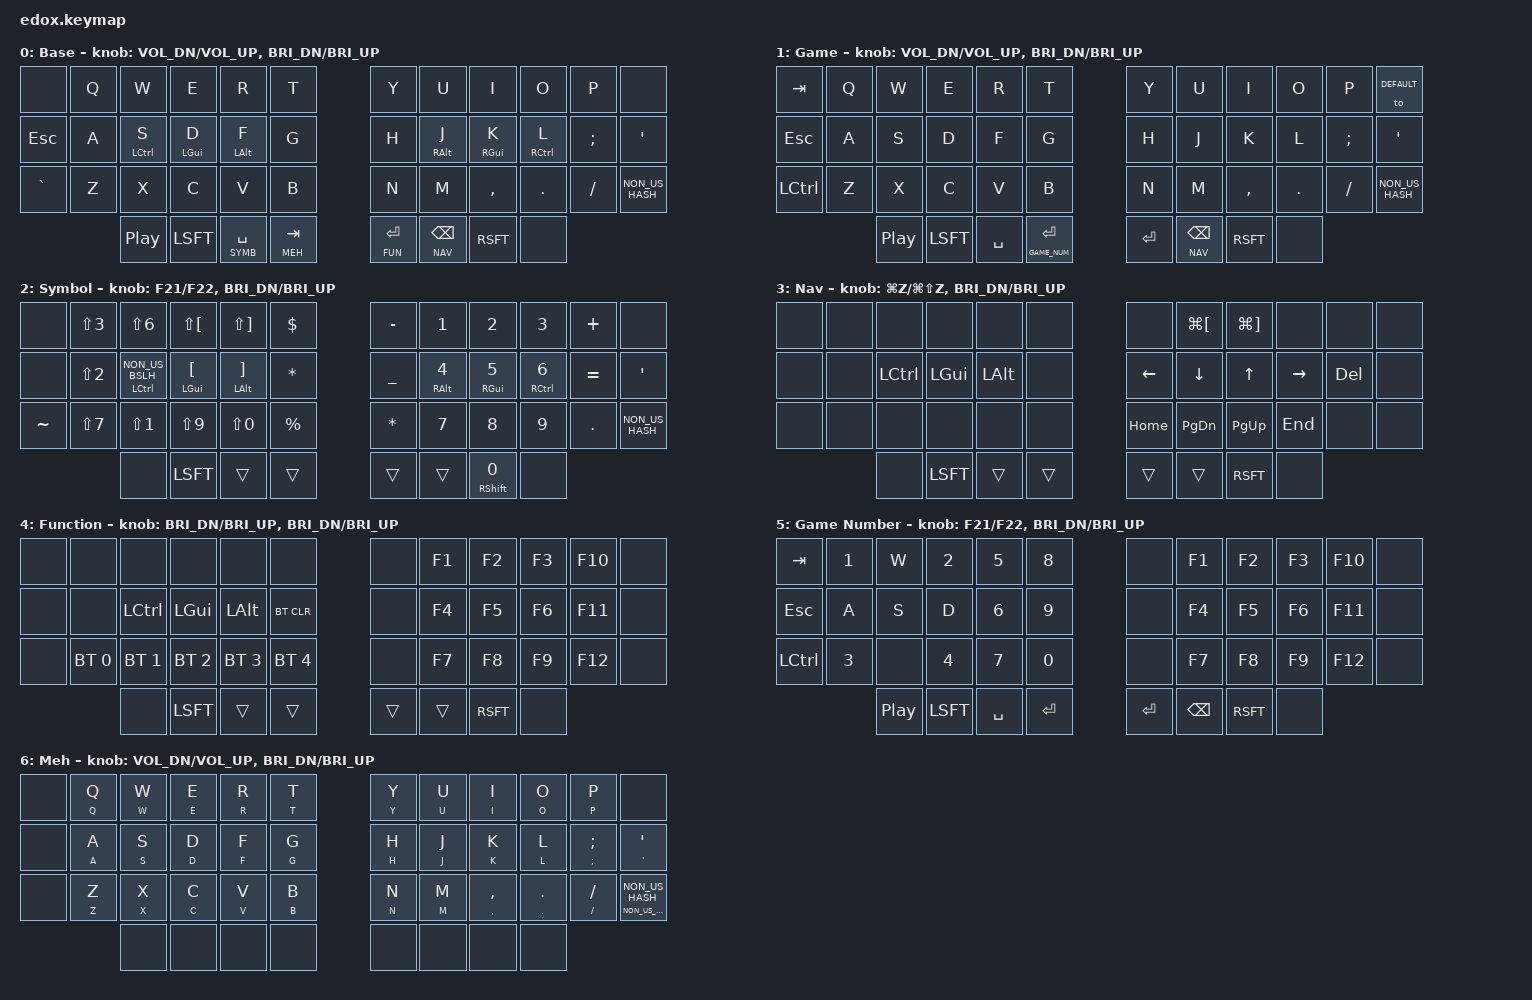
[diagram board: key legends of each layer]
#include <behaviors.dtsi>
#include <dt-bindings/zmk/keys.h>
#include <dt-bindings/zmk/bt.h>
#include <dt-bindings/zmk/ext_power.h>

#define DEFAULT   0
#define GAME      1
#define SYMB      2
#define NAV       3
#define FUN       4
#define GAME_NUM  5
#define MEH       6

&lt {
        tapping-term-ms = <150>;
        quick_tap_ms = <0>;
        flavor = "balanced";
};


/ {

        behaviors {
                hm: homerow_mods {
                        compatible = "zmk,behavior-hold-tap";
                        label = "HOMEROW_MODS";
                        #binding-cells = <2>;
                        tapping-term-ms = <150>;
                        quick_tap_ms = <0>;
                        flavor = "tap-preferred";
                        bindings = <&kp>, <&kp>;
                };
                td: tapdance {
                        compatible = "zmk,behavior-hold-tap";
                        label = "TAPDANCE";
                        #binding-cells = <2>;
                        tapping-term-ms = <190>;
                        quick_tap_ms = <0>;
                        flavor = "tap-preferred";
                        bindings = <&kp>, <&kp>;
                };
                mh: meh_hyper {
                        compatible = "zmk,behavior-hold-tap";
                        label = "MEH_HYPER";
                        #binding-cells = <2>;
                        tapping-term-ms = <200>;
                        quick_tap_ms = <0>;
                        flavor = "tap-preferred";
                        bindings = <&macro_hyper>, <&macro_meh>;
                };
        };

        macros {
                macro_meh: macro_meh {
                        compatible = "zmk,behavior-macro-one-param";
                        #binding-cells = <1>;
                        bindings
                                = <&macro_press &kp LCTRL &kp LSHIFT &kp LALT>
                                , <&macro_param_1to1>
                                , <&macro_tap &kp MACRO_PLACEHOLDER>
                                , <&macro_release &kp LCTRL &kp LSHIFT &kp LALT>
                                ;
                };
                macro_hyper: macro_hyper {
                        compatible = "zmk,behavior-macro-one-param";
                        #binding-cells = <1>;
                        bindings
                                = <&macro_press &kp LCTRL &kp LSHIFT &kp LALT &kp LGUI>
                                , <&macro_param_1to1>
                                , <&macro_tap &kp MACRO_PLACEHOLDER>
                                , <&macro_release &kp LCTRL &kp LSHIFT &kp LALT &kp LGUI>
                                ;
                };
        };

        combos
        {
                compatible = "zmk,combos";
                combo_ent
                {
                        timeout-ms = <40>;
                        key-positions = <27 28>;
                        bindings = <&kp ENTER>;
                        layers = <0>;
                };
                combo_bksp
                {
                        timeout-ms = <40>;
                        key-positions = <25 26>;
                        bindings = <&kp BKSP>;
                        layers = <0>;
                };
                combo_meh
                {
                        timeout-ms = <40>;
                        key-positions = <38 39>;
                        bindings = <&kp LS(LC(LG(LALT)))>;
                        layers = <0>;
                };
                combo_game
                {
                        timeout-ms = <40>;
                        key-positions = <10 11>;
                        bindings = <&to GAME>;
                        layers = <0>;
                };
                combo_default
                {
                        timeout-ms = <40>;
                        key-positions = <0 1>;
                        bindings = <&to DEFAULT>;
                };
        };

        keymap {
                compatible = "zmk,keymap";

                default_layer {
                        label = "Base";
//   --------------------------------------------------------------------------------------------------------
// 0  | NONE |  Q  |  W  |  E  |  R  |  T  | 5                              6  |  Y  |  U   |  I  |  O  |  P  | NONE | 11
// 12 | ESC  |  A  |C S  |G D  |A F  |  G  | 17                             18 |  H  |A J   |G K  |C L  |  ;  |  '   | 23
// 24 |  \   |  Z  |  X  |  C  |  V  |  B  | 29                             30 |  N  |  M   |  ,  |  .  |  /  |  #   | 35
//                          36 | PLAY| SHFT| S SPC | M TAB |   | F ENT | N BKSP| SHFT| NONE | 43
                        bindings = <
   &none     &kp Q &kp W   &kp E      &kp R      &kp T                                                                                      &kp Y    &kp U       &kp I          &kp O         &kp P    &none
   &kp ESC   &kp A  &hm LCTRL S   &hm LGUI D &hm LALT F &kp G                                                                               &kp H    &hm RALT J  &hm RGUI K     &hm RCTRL L   &kp SEMI &kp SQT
   &kp GRAVE &kp Z  &kp X         &kp C      &kp V      &kp B                                                                               &kp N    &kp M       &kp COMMA      &kp DOT       &kp FSLH &kp NON_US_HASH
                                             &kp C_PP   &kp LSFT   &lt SYMB SPACE &lt MEH TAB       &lt FUN ENTER &lt NAV BKSP &kp RSFT &none
                        >;

                        sensor-bindings = <&inc_dec_kp C_VOL_DN C_VOL_UP &inc_dec_kp C_BRI_DN C_BRI_UP>;
                };

                game_layer {
                        label = "Game";
// --------------------------------------------------------------------------------------------------------
// | TAB  |  Q  |  W  |  E  |  R  |  T  |                             |  Y  |  U   |  I  |  O  |  P  | DEFAULT |
// | ESC  |  A  |  S  |  D  |  F  |  G  |                             |  H  |  J   |  K  |  L  |  ;  |  '   |
// | LCTL |  Z  |  X  |  C  |  V  |  B  |                             |  N  |  M   |  ,  |  .  |  /  |  #   |
//                          | PLAY| SHFT| SPC |GN ENT|   | ENT |N BKSP| SHFT| NONE |
                        bindings = <
   &kp TAB   &kp Q &kp W &kp E &kp R    &kp T                                                           &kp Y    &kp U  &kp I     &kp O   &kp P    &to DEFAULT
   &kp ESC   &kp A &kp S &kp D &kp F    &kp G                                                           &kp H    &kp J  &kp K     &kp L   &kp SEMI &kp SQT
   &kp LCTRL &kp Z &kp X &kp C &kp V    &kp B                                                           &kp N    &kp M  &kp COMMA &kp DOT &kp FSLH &kp NON_US_HASH
                               &kp C_PP &kp LSFT &kp SPACE &lt GAME_NUM ENTER    &kp ENTER &lt NAV BKSP &kp RSFT &none
                        >;

                        sensor-bindings = <&inc_dec_kp C_VOL_DN C_VOL_UP &inc_dec_kp C_BRI_DN C_BRI_UP>;

                };

                symb_layer {
                        label = "Symbol";
// -----------------------------------------------------------------------------------------
// | NONE |  £  |  ^  |  {  |  }  |  $  |                           |  -  |  1  |  2  |  3  |  +  | NONE|
// | NONE |  "  |C `  |G [  |A ]  |  *  |                           |  _  |A 4  |G 5  |C 6  |  =  | NONE|
// | PIPE |  &  |  !  |  (  |  )  |  %  |                           |  *  |  7  |  8  |  9  |  .  | NONE|
//                          |NONE |SHFT |NONE |NONE |   |NONE |NONE |S 0  |NONE |
                        bindings = <
   &none      &kp LS(N3)      &kp LS(N6)            &kp LS(LBKT)  &kp LS(RBKT)  &kp DLLR                                    &kp MINUS    &kp N1      &kp N2      &kp N3       &kp PLUS  &none
   &none      &kp LS(N2)      &hm LCTRL NON_US_BSLH &hm LGUI LBKT &hm LALT RBKT &kp STAR                                    &kp UNDER    &hm RALT N4 &hm RGUI N5 &hm RCTRL N6 &kp EQUAL &kp SQT
   &kp TILDE  &kp LS(N7)      &kp LS(N1)            &kp LS(N9)    &kp LS(N0)    &kp PRCNT                                   &kp STAR     &kp N7      &kp N8      &kp N9       &kp DOT   &kp NON_US_HASH
                                                                  &none         &kp LSFT &trans &trans        &trans &trans &mt RSHFT N0 &none
                        >;

                        sensor-bindings = <&inc_dec_kp F21 F22 &inc_dec_kp C_BRI_DN C_BRI_UP>;
                };

                nav_layer {
                        label = "Nav";
// --------------------------------------------------------------------------------------------------------
// | NONE | NONE | NONE | NONE | NONE | NONE |                               | NONE | BACK | FRWD | NONE | NONE | NONE |
// | NONE | NONE | LCTRL| LGUI | LALT | NONE |                               | LEFT | DOWN |  UP  | RGHT | DEL  | NONE |
// | NONE | NONE | NONE | NONE | NONE | NONE |                               | HOME | PGDN | PGUP | END  | NONE | NONE |
//                             | NONE | LSFT | NONE  |NONE |   | NONE | NONE | RSFT | NONE |
                        bindings = <
   &none  &none  &none     &none    &none    &none                                        &none       &kp LG(LBKT) &kp LG(RBKT) &none     &none   &none
   &none  &none  &kp LCTRL &kp LGUI &kp LALT &none                                        &kp LEFT    &kp DOWN     &kp UP       &kp RIGHT &kp DEL &none
   &none  &none  &none     &none    &none    &none                                        &kp HOME    &kp PG_DN    &kp PG_UP    &kp END   &none   &none
                                    &none    &kp LSFT &trans  &trans       &trans  &trans &kp RSFT    &none
                        >;

                        sensor-bindings = <&inc_dec_kp LG(Z) LG(LS(Z)) &inc_dec_kp C_BRI_DN C_BRI_UP>;
                };
                fun_layer {
                        label = "Function";
// --------------------------------------------------------------------------------------------------------
// | NONE | NONE | NONE | NONE | NONE | NONE |                               | NONE |  F1  |  F2  |  F3  |  F10  | NONE |
// | NONE | NONE | LCTRL| LGUI | LALT | BCLR |                               | NONE |  F4  |  F5  |  F6  |  F11  | NONE |
// | NONE |  B1  |  B2  |  B3  |  B4  |  B5  |                               | NONE |  F7  |  F8  |  F9  |  F12  | NONE |
//                             | NONE | LSFT | NONE | NONE |   | NONE | NONE | RSFT | NONE |
                        bindings = <
   &none  &none         &none         &none         &none         &none                                               &none     &kp F1  &kp F2  &kp F3  &kp F10  &none
   &none  &none         &kp LCTRL     &kp LGUI      &kp LALT      &bt BT_CLR                                          &none     &kp F4  &kp F5  &kp F6  &kp F11  &none
   &none  &bt BT_SEL 0  &bt BT_SEL 1  &bt BT_SEL 2  &bt BT_SEL 3  &bt BT_SEL 4                                        &none     &kp F7  &kp F8  &kp F9  &kp F12  &none
                                                    &none         &kp LSFT       &trans  &trans       &trans  &trans  &kp RSFT  &none
                        >;

                        sensor-bindings = <&inc_dec_kp C_BRI_DN C_BRI_UP &inc_dec_kp C_BRI_DN C_BRI_UP>;
                };


                game_num_layer {
                        label = "Game Number";
// --------------------------------------------------------------------------------------------------------
// | TAB  |  1   |  W   |  2   |  5   |  8   |                                | NONE |  F1  |  F2  |  F3  |  F10  | NONE |
// | ESC  |  A   |  S   |  D   |  6   |  9   |                                | NONE |  F4  |  F5  |  F6  |  F11  | NONE |
// | LCTRL|  3   | NONE |  4   |  7   |  0   |                                | NONE |  F7  |  F8  |  F9  |  F12  | NONE |
//                             | PLAY | SHFT| SPC | ENT |         | ENT | BKSP| SHFT | NONE |
                        bindings = <
   &kp TAB   &kp N1  &kp W  &kp N2  &kp N5    &kp N8                                             &none    &kp F1  &kp F2  &kp F3  &kp F10  &none
   &kp ESC   &kp A   &kp S  &kp D   &kp N6    &kp N9                                             &none    &kp F4  &kp F5  &kp F6  &kp F11  &none
   &kp LCTRL &kp N3  &none  &kp N4  &kp N7    &kp N0                                             &none    &kp F7  &kp F8  &kp F9  &kp F12  &none
                                    &kp C_PP  &kp LSFT &kp SPACE &kp ENTER    &kp ENTER &kp BKSP &kp RSFT &none
                        >;

                        sensor-bindings = <&inc_dec_kp F21 F22 &inc_dec_kp C_BRI_DN C_BRI_UP>;

                };

                meh_layer {
                        label = "Meh";
// --------------------------------------------------------------------------------------------------------
// | NONE | M Q | M W | M E | M R | M T |                               | M Y | M U | M I | M O | M P | NONE |
// | NONE | M A | M S | M D | M F | M G |                               | M H | M J | M K | M L | M ; | M '  |
// | NONE | M Z | M X | M C | M V | M B |                               | M N | M M | M , | M . | M / | M #  |
//                          | NONE | NONE | NONE | NONE |   | NONE | NONE | NONE | NONE |
                        bindings = <
   &none  &mh Q Q        &mh W W        &mh E E            &mh R R            &mh T T                                                  &mh Y Y        &mh U U        &mh I I            &mh O O            &mh P P            &none
   &none  &mh A A        &mh S S        &mh D D            &mh F F            &mh G G                                                  &mh H H        &mh J J        &mh K K            &mh L L            &mh SEMI SEMI      &mh SQT SQT
   &none  &mh Z Z        &mh X X        &mh C C            &mh V V            &mh B B                                                  &mh N N        &mh M M        &mh COMMA COMMA    &mh DOT DOT        &mh FSLH FSLH      &mh NON_US_HASH NON_US_HASH
                                                           &none              &none      &none  &none       &none  &none              &none          &none
                        >;

                        sensor-bindings = <&inc_dec_kp C_VOL_DN C_VOL_UP &inc_dec_kp C_BRI_DN C_BRI_UP>;
                };
        };
};



/*

// --------------------------------------------------------------------------------------------------------
// | NONE | NONE | NONE | NONE | NONE | NONE |                               | NONE | NONE | NONE | NONE | NONE | NONE |
// | NONE | NONE | NONE | NONE | NONE | NONE |                               | NONE | NONE | NONE | NONE | NONE | NONE |
// | NONE | NONE | NONE | NONE | NONE | NONE |                               | NONE | NONE | NONE | NONE | NONE | NONE |
//                             | NONE | NONE | NONE | NONE |   | NONE | NONE | NONE | NONE |
                        bindings = <
   &none  &none  &none  &none  &none  &none                                   &none  &none  &none  &none  &none  &none
   &none  &none  &none  &none  &none  &none                                   &none  &none  &none  &none  &none  &none
   &none  &none  &none  &none  &none  &none                                   &none  &none  &none  &none  &none  &none
                               &none  &none  &none  &none       &none  &none  &none  &none

*/
